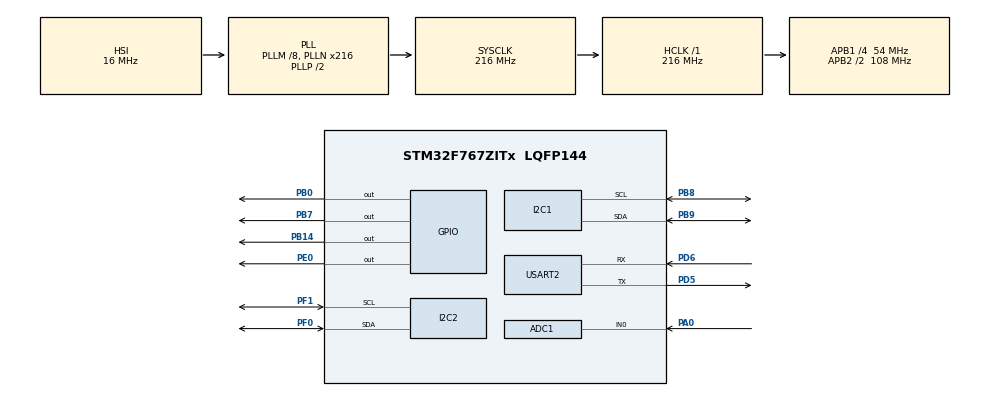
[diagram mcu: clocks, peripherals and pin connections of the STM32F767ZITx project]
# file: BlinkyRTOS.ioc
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ADC1.Channel-0\#ChannelRegularConversion=ADC_CHANNEL_0
ADC1.NbrOfConversionFlag=1
ADC1.Rank-0\#ChannelRegularConversion=1
ADC1.Resolution=ADC_RESOLUTION_8B
ADC1.SamplingTime-0\#ChannelRegularConversion=ADC_SAMPLETIME_3CYCLES
ADC1.master=1
CORTEX_M7.default_mode_Activation=1
I2C1.Timing=0x20404768
I2C2.Timing=0x20404768
Mcu.Family=STM32F7
Mcu.Name=STM32F767ZITx
Mcu.Package=LQFP144
NVIC.PriorityGroup=NVIC_PRIORITYGROUP_4
NVIC.TIM6_DAC_IRQn=true\:15\:0\:false\:false\:true\:false\:true\:true
NVIC.TimeBase=TIM6_DAC_IRQn
NVIC.TimeBaseIP=TIM6
PA0/WKUP.Signal=ADCx_IN0
PB0.GPIO_Speed=GPIO_SPEED_FREQ_HIGH
PB0.PinState=GPIO_PIN_SET
PB0.Signal=GPIO_Output
PB14.GPIO_Speed=GPIO_SPEED_FREQ_HIGH
PB14.PinState=GPIO_PIN_SET
PB14.Signal=GPIO_Output
PB7.GPIO_Speed=GPIO_SPEED_FREQ_HIGH
PB7.PinState=GPIO_PIN_SET
PB7.Signal=GPIO_Output
PB8.Mode=I2C
PB8.Signal=I2C1_SCL
PB9.Mode=I2C
PB9.Signal=I2C1_SDA
PD5.Mode=Asynchronous
PD5.Signal=USART2_TX
PD6.Mode=Asynchronous
PD6.Signal=USART2_RX
PE0.GPIO_Speed=GPIO_SPEED_FREQ_HIGH
PE0.PinState=GPIO_PIN_SET
PE0.Signal=GPIO_Output
PF0.Mode=I2C
PF0.Signal=I2C2_SDA
PF1.Mode=I2C
PF1.Signal=I2C2_SCL
ProjectManager.HeapSize=0x200
ProjectManager.StackSize=0x400
ProjectManager.TargetToolchain=STM32CubeIDE
RCC.AHBFreq_Value=216000000
RCC.APB1CLKDivider=RCC_HCLK_DIV4
RCC.APB1Freq_Value=54000000
RCC.APB1TimFreq_Value=108000000
RCC.APB2CLKDivider=RCC_HCLK_DIV2
RCC.APB2Freq_Value=108000000
RCC.APB2TimFreq_Value=216000000
RCC.CortexFreq_Value=216000000
RCC.HCLKFreq_Value=216000000
RCC.HSE_VALUE=25000000
RCC.HSI_VALUE=16000000
RCC.LSE_VALUE=32768
RCC.PLLM=8
RCC.PLLN=216
RCC.PLLQ=9
RCC.SYSCLKFreq_VALUE=216000000
RCC.SYSCLKSource=RCC_SYSCLKSOURCE_PLLCLK
RCC.USBFreq_Value=48000000
RCC.VCOOutputFreq_Value=432000000
SH.ADCx_IN0.0=ADC1_IN0,IN0
USART2.VirtualMode-Asynchronous=VM_ASYNC
VP_RNG_VS_RNG.Mode=RNG_Activate
VP_SYS_VS_tim6.Mode=TIM6
board=custom

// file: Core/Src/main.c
/* USER CODE BEGIN Header */
/**
  ******************************************************************************
  * @file           : main.c
  * @brief          : Main program body
  ******************************************************************************
  * @attention
  *
  * Copyright (c) 2025 STMicroelectronics.
  * All rights reserved.
  *
  * This software is licensed under terms that can be found in the LICENSE file
  * in the root directory of this software component.
  * If no LICENSE file comes with this software, it is provided AS-IS.
  *
  ******************************************************************************
  */
/* USER CODE END Header */
#include "main.h"

/* USER CODE BEGIN Includes */
#include <string.h>
#include <stdio.h>
#include <math.h>

#include "ssd1306.h"
#include "ssd1306_fonts.h"
#include "FreeRTOS.h"
#include "task.h"
#include "semphr.h" // Include if using semaphores in ISR
#include <SEGGER_SYSVIEW.h>
#include <lookBusy.h>
#include "stm32f7xx.h"

#include "font_extra.h"
/* USER CODE END Includes */

/* USER CODE BEGIN PD */
//#define LED1_PIN        0  // PB0
//#define LED2_PIN        7  // PB7
//#define LED3_PIN        14 // PB14
#define LED1_GPIO_PIN GPIO_PIN_0
#define LED2_GPIO_PIN GPIO_PIN_7
#define LED3_GPIO_PIN GPIO_PIN_14
#define PE0_GPIO_PIN  GPIO_PIN_0

//#define SHT31_ADDR 0x44 << 1 // SHT31 I2C address shifted left by 1 bit
//#define CMD_MEASURE_TEMP 0x2C06 // Command to measure temperature
//#define CMD_MEASURE_HUMIDITY 0x2C10 // Command to measure humidity

#define SHT31_ADDR 0x44 << 1 // SHT31 I2C address shifted left by 1 bit
// #define CMD_MEASURE_TEMP 0x2C06 // No longer needed
// #define CMD_MEASURE_HUMIDITY 0x2C10 // No longer needed
#define CMD_MEASURE_TH_HIGH_REP 0x2400 // Command for Temp & Humidity High Repeatability

// Define error codes for sensor reading
#define SHT31_READ_OK      0
#define SHT31_ERR_NOT_READY -998.0f
#define SHT31_ERR_I2C_FAIL  -999.0f
/* USER CODE END PD */

ADC_HandleTypeDef hadc1;

I2C_HandleTypeDef hi2c1;
I2C_HandleTypeDef hi2c2;

RNG_HandleTypeDef hrng;

UART_HandleTypeDef huart2;

void SystemClock_Config(void);
static void MPU_Config(void);
static void MX_GPIO_Init(void);
static void MX_RNG_Init(void);
static void MX_I2C1_Init(void);
static void MX_USART2_UART_Init(void);
static void MX_ADC1_Init(void);
static void MX_I2C2_Init(void);
/* USER CODE BEGIN PFP */
void SHT31_ReadTempHumidity(float* temp, float* humidity);
float roundToOneDecimal(float value);
/* USER CODE END PFP */

/* USER CODE BEGIN 0 */
void vLED1Task(void *pvParameters) {
    // Data for this task
	uint16_t lux=0;
	char msg[30];
	uint32_t timeout = 100; // Timeout for transmission

    for (;;) {
    	SEGGER_SYSVIEW_PrintfHost("vLED1Task started");
    	// Toggle LED1 (PB0)
//        GPIOB->ODR ^= (1 << LED1_PIN);
    	HAL_GPIO_TogglePin(GPIOB, LED1_GPIO_PIN);

        HAL_ADC_Start(&hadc1);
        HAL_ADC_PollForConversion(&hadc1, 20);
        lux = HAL_ADC_GetValue(&hadc1);
        snprintf(msg, sizeof(msg), "Light: %hu \r\n", lux);
        // Transmit the data via UART2
        // HAL_UART_Transmit is a BLOCKING function. It waits until transmission is complete or timeout.
        // For a slow task like this (1000ms delay), blocking is often acceptable.
        // For faster tasks or larger data, consider HAL_UART_Transmit_IT() or HAL_UART_Transmit_DMA().
        HAL_StatusTypeDef status = HAL_UART_Transmit(&huart2, // Pointer to UART handle
                                                  (uint8_t *)msg,      // Pointer to data buffer
                                                  strlen(msg), // Data size (exclude null terminator)
                                                  timeout);  // Timeout duration
        if (status != HAL_OK) {
            // Handle error
        }

        // Delay for 200 ms
        vTaskDelay(pdMS_TO_TICKS(200));
    }
}

void vLED2Task(void *pvParameters) {
	for (;;) {
		SEGGER_SYSVIEW_PrintfHost("vLED2Task started");
//		GPIOB->ODR ^= (1 << LED2_PIN); // Toggle LED2 (PB7)
		HAL_GPIO_TogglePin(GPIOB, LED2_GPIO_PIN);
        vTaskDelay(pdMS_TO_TICKS(300));
    }
}

void vLED3Task(void *pvParameters) {
	// Increased buffer size slightly just in case formatting is longer
	char msg[40];
	float temperature = 0.0f, humidity = 0.0f; // Initialize variables
	uint16_t lux=0;
	uint32_t timeout = 100; // Timeout for transmission

	for (;;) {
		SEGGER_SYSVIEW_PrintfHost("vLED3Task started");
//		GPIOB->ODR ^= (1 << LED3_PIN); // Toggle LED3 (PB14)
		HAL_GPIO_TogglePin(GPIOB, LED3_GPIO_PIN);

        // Read temperature and humidity data from SHT31
        // Assumes SHT31_ReadTempHumidity correctly populates both values on success
        SHT31_ReadTempHumidity(&temperature, &humidity);

        // Format the message based on the read result
        if (temperature == SHT31_ERR_I2C_FAIL) {
            snprintf(msg, sizeof(msg), "I2C Error\r\n");
        } else if (temperature == SHT31_ERR_NOT_READY) {
             snprintf(msg, sizeof(msg), "SHT31 NACK\r\n");
        }
//      else if (isnan(temperature) || isinf(temperature) || isnan(humidity) || isinf(humidity)) { // Optional advanced check
//          snprintf(msg, sizeof(msg), "Sensor Math Err\r\n");
//      }
        else {
            // *** MODIFIED LINE: Format both Temperature and Humidity ***
            // Using %.1f for one decimal place, added units and spacing.
            // Note: %% is used to print a literal '%' sign.
            snprintf(msg, sizeof(msg), "T:%.1f°C H:%.1f%%\r\n", temperature, humidity);
        }

        // Transmit the formatted message or error status
        HAL_StatusTypeDef status = HAL_UART_Transmit(&huart2, (uint8_t *)msg, strlen(msg), timeout);
        // Optional: Check UART transmission status
        if (status != HAL_OK)
        {
            // Handle UART transmission error - maybe try sending a simpler error message
             // HAL_UART_Transmit(&huart2, (uint8_t*)"UART TX ERR\r\n", 13, timeout);
        }
        ssd1306_Fill(Black);
        float rounded_val = roundToOneDecimal(temperature);
        snprintf(msg, sizeof(msg), "%.1f#$ \r\n", rounded_val);
        ssd1306_SetCursor(5,0);
        ssd1306_WriteString("Temperature: ", Font_6x8, White);
        ssd1306_SetCursor(35,15);
        ssd1306_WriteString(msg, FontExtra_8x8, White);

        rounded_val = roundToOneDecimal(humidity);
        snprintf(msg, sizeof(msg), "%.1f \r\n", rounded_val);
        ssd1306_SetCursor(5,30);
        ssd1306_WriteString("Humidity: ", Font_6x8, White);
//        ssd1306_UpdateScreen();
        ssd1306_SetCursor(35,45);
        ssd1306_WriteString(msg, FontExtra_8x8, White);

        HAL_ADC_Start(&hadc1);
        HAL_ADC_PollForConversion(&hadc1, 20);
        lux = HAL_ADC_GetValue(&hadc1);

        if (lux < 50){
            HAL_GPIO_WritePin(GPIOE, PE0_GPIO_PIN, GPIO_PIN_SET);

          ssd1306_SetContrast(255);
          ssd1306_UpdateScreen();
          GPIOE->BSRR = (1UL << 0);
        }else{// Turn LED on
          HAL_GPIO_WritePin(GPIOE, PE0_GPIO_PIN, GPIO_PIN_RESET);
          ssd1306_SetContrast(100);
          ssd1306_UpdateScreen();

        }
        vTaskDelay(pdMS_TO_TICKS(1000));
    }
}

void SHT31_ReadTempHumidity(float* temp, float* humidity)
{
    // Buffer to hold 6 bytes: Temp MSB, LSB, CRC, Humid MSB, LSB, CRC
    uint8_t data[6];
    uint16_t temp_raw, humidity_raw;

    // Command for single shot measurement, high repeatability (T & H)
    uint16_t cmd_measure_th = CMD_MEASURE_TH_HIGH_REP;
    uint8_t cmd_bytes[2];
    cmd_bytes[0] = (cmd_measure_th >> 8) & 0xFF;
    cmd_bytes[1] = cmd_measure_th & 0xFF;

    HAL_StatusTypeDef status; // Variable to check HAL return status

    // Initialize output pointers to error state
    *temp = SHT31_ERR_I2C_FAIL;
    *humidity = SHT31_ERR_I2C_FAIL;

    // 1. Check if device is ready (responds to its address)
    status = HAL_I2C_IsDeviceReady(&hi2c2, SHT31_ADDR, 2, 100);
    if (status != HAL_OK) {
        *temp = SHT31_ERR_NOT_READY; // Indicate device did not ACK
        *humidity = SHT31_ERR_NOT_READY;
        return; // Exit if device is not ready
    }

    // 2. Send the single measurement command (0x2400)
    status = HAL_I2C_Master_Transmit(&hi2c2, SHT31_ADDR, cmd_bytes, 2, 1000);
    if (status != HAL_OK) {
        return; // Exit on I2C transmission error
    }

    // 3. Wait for measurement (Use vTaskDelay in RTOS)
    // High repeatability measurement time is ~15ms according to datasheet
    vTaskDelay(pdMS_TO_TICKS(20)); // 20ms delay should be safe

    // 4. Read 6 bytes: Temp MSB, LSB, CRC, Humid MSB, LSB, CRC
    status = HAL_I2C_Master_Receive(&hi2c2, SHT31_ADDR, data, 6, 1000);
    if (status != HAL_OK) {
        return; // Exit on I2C receive error
    }
    // Note: CRC bytes (data[2] and data[5]) are read but not validated here

    // 5. Calculate Temperature from first 2 bytes
    temp_raw = (data[0] << 8) | data[1];
    *temp = ((float)temp_raw * 175.0f / 65535.0f) - 45.0f;

    // 6. Calculate Humidity from the next 2 bytes (bytes 3 and 4)
    humidity_raw = (data[3] << 8) | data[4];
    *humidity = ((float)humidity_raw * 100.0f / 65535.0f);

    // If execution reaches here, I2C reads were nominally OK, and
    // both temp and humidity calculations are complete.
}

float roundToOneDecimal(float value) {
    return roundf(value * 10.0f) / 10.0f;
}
/* USER CODE END 0 */

int main(void)
{

  /* MPU Configuration--------------------------------------------------------*/
  MPU_Config();

  /* MCU Configuration--------------------------------------------------------*/

  /* Reset of all peripherals, Initializes the Flash interface and the Systick. */
  HAL_Init();

  /* Configure the system clock */
  SystemClock_Config();

  /* USER CODE BEGIN SysInit */
  SystemCoreClockUpdate();
  /* USER CODE END SysInit */

  /* Initialize all configured peripherals */
  MX_GPIO_Init();
  MX_RNG_Init();
  MX_I2C1_Init();
  MX_USART2_UART_Init();
  MX_ADC1_Init();
  MX_I2C2_Init();
  /* USER CODE BEGIN 2 */
  SEGGER_SYSVIEW_Conf();
  NVIC_SetPriorityGrouping( 0 ); // ensure proper priority grouping for freeRTOS
  ssd1306_Init();
  ssd1306_Fill(Black);
  ssd1306_UpdateScreen();

  HAL_StatusTypeDef device_status;
  device_status = HAL_I2C_IsDeviceReady(&hi2c1, SSD1306_I2C_ADDR, 2, 100); // Check if device ACKs
  if (device_status != HAL_OK) {
      // Device not found or communication error
      // Maybe blink an LED differently or halt here for debugging
      Error_Handler();
  }

//  RCC->AHB1ENR |= RCC_AHB1ENR_GPIOBEN;
//
//  // Configure LED pins as output (Direct Register Access)
//  GPIOB->MODER &= ~((3 << (LED1_PIN * 2)) | (3 << (LED2_PIN * 2)) | (3 << (LED3_PIN * 2)));
//  GPIOB->MODER |=  ((1 << (LED1_PIN * 2)) | (1 << (LED2_PIN * 2)) | (1 << (LED3_PIN * 2)));
//  GPIOB->OTYPER &= ~((1 << LED1_PIN) | (1 << LED2_PIN) | (1 << LED3_PIN));
//  GPIOB->OSPEEDR &= ~((3 << (LED1_PIN * 2)) | (3 << (LED2_PIN * 2)) | (3 << (LED3_PIN * 2)));
//  GPIOB->PUPDR &= ~((3 << (LED1_PIN * 2)) | (3 << (LED2_PIN * 2)) | (3 << (LED3_PIN * 2)));
//
//  // 1. Enable GPIOE Clock in RCC_AHB1ENR register
//  // Make sure RCC definition is available (usually via stm32f7xx.h -> included in main.h)
//  RCC->AHB1ENR |= RCC_AHB1ENR_GPIOEEN; // Set the GPIOE clock enable bit
//
//  // Short delay after enabling clock (optional, sometimes good practice)
//  // volatile uint32_t dummy_delay = RCC->AHB1ENR;
//  // (void)dummy_delay; // Avoid unused variable warning
//
//  // Configure PE0 (Pin 0 on GPIOE)
//  // Make sure GPIOE definition is available (usually via stm32f7xx.h -> included in main.h)

//  // 2. Configure Mode: General purpose output (01)
//  GPIOE->MODER &= ~(GPIO_MODER_MODER0); // Clear bits 1:0 for Pin 0 (mask is 0b11 << 0)
//  GPIOE->MODER |=  (GPIO_MODER_MODER0_0); // Set bit 0 to 1 (value is 0b01 << 0)
//
//  // 3. Configure Output Type: Push-pull (0)
//  GPIOE->OTYPER &= ~(GPIO_OTYPER_OT0); // Clear bit 0 for Pin 0 (mask is 0b1 << 0)
//
//  // 4. Configure Output Speed: Low speed (00)
//  GPIOE->OSPEEDR &= ~(GPIO_OSPEEDER_OSPEEDR0); // Clear bits 1:0 for Pin 0 (mask is 0b11 << 0)
//                                              // 00 is the default state (Low speed) after clearing
//
//  // 5. Configure Pull-up/Pull-down: No pull-up, no pull-down (00)
//  GPIOE->PUPDR &= ~(GPIO_PUPDR_PUPDR0); // Clear bits 1:0 for Pin 0 (mask is 0b11 << 0)
//                                        // 00 is the default state (No pull) after clearing
  // Spin until the user starts the SystemView app, in Record mode
  while(SEGGER_SYSVIEW_IsStarted()==0)
  {
      lookBusy(100);
  }
  // Create tasks
  xTaskCreate(vLED1Task, "LED1", configMINIMAL_STACK_SIZE, NULL, tskIDLE_PRIORITY + 1, NULL);
  xTaskCreate(vLED2Task, "LED2", configMINIMAL_STACK_SIZE, NULL, tskIDLE_PRIORITY + 1, NULL);
  xTaskCreate(vLED3Task, "LED3", 256, NULL, tskIDLE_PRIORITY + 1, NULL);

  // Example: Create semaphore if used by TIM6 ISR
  // xTim6Semaphore = xSemaphoreCreateBinary();

  // Start scheduler - Execution transfers to FreeRTOS tasks
  vTaskStartScheduler();
  /* USER CODE END 2 */

  /* Infinite loop */
  while (1)
  {

    /* USER CODE BEGIN 3 */
	  ssd1306_SetCursor(5,1);
	  ssd1306_WriteString("Temperature: ", Font_6x8, White);
	  ssd1306_UpdateScreen();
  }
  /* USER CODE END 3 */
}

void SystemClock_Config(void)
{
  RCC_OscInitTypeDef RCC_OscInitStruct = {0};
  RCC_ClkInitTypeDef RCC_ClkInitStruct = {0};

  /** Configure the main internal regulator output voltage
  */
  __HAL_RCC_PWR_CLK_ENABLE();
  __HAL_PWR_VOLTAGESCALING_CONFIG(PWR_REGULATOR_VOLTAGE_SCALE1);

  /** Initializes the RCC Oscillators according to the specified parameters
  * in the RCC_OscInitTypeDef structure.
  */
  RCC_OscInitStruct.OscillatorType = RCC_OSCILLATORTYPE_HSI;
  RCC_OscInitStruct.HSIState = RCC_HSI_ON;
  RCC_OscInitStruct.HSICalibrationValue = RCC_HSICALIBRATION_DEFAULT;
  RCC_OscInitStruct.PLL.PLLState = RCC_PLL_ON;
  RCC_OscInitStruct.PLL.PLLSource = RCC_PLLSOURCE_HSI;
  RCC_OscInitStruct.PLL.PLLM = 8;
  RCC_OscInitStruct.PLL.PLLN = 216;
  RCC_OscInitStruct.PLL.PLLP = RCC_PLLP_DIV2;
  RCC_OscInitStruct.PLL.PLLQ = 9;
  RCC_OscInitStruct.PLL.PLLR = 2;
  if (HAL_RCC_OscConfig(&RCC_OscInitStruct) != HAL_OK)
  {
    Error_Handler();
  }

  /** Activate the Over-Drive mode
  */
  if (HAL_PWREx_EnableOverDrive() != HAL_OK)
  {
    Error_Handler();
  }

  /** Initializes the CPU, AHB and APB buses clocks
  */
  RCC_ClkInitStruct.ClockType = RCC_CLOCKTYPE_HCLK|RCC_CLOCKTYPE_SYSCLK
                              |RCC_CLOCKTYPE_PCLK1|RCC_CLOCKTYPE_PCLK2;
  RCC_ClkInitStruct.SYSCLKSource = RCC_SYSCLKSOURCE_PLLCLK;
  RCC_ClkInitStruct.AHBCLKDivider = RCC_SYSCLK_DIV1;
  RCC_ClkInitStruct.APB1CLKDivider = RCC_HCLK_DIV4;
  RCC_ClkInitStruct.APB2CLKDivider = RCC_HCLK_DIV2;

  if (HAL_RCC_ClockConfig(&RCC_ClkInitStruct, FLASH_LATENCY_7) != HAL_OK)
  {
    Error_Handler();
  }
}

static void MX_ADC1_Init(void)
{

  ADC_ChannelConfTypeDef sConfig = {0};

  /** Configure the global features of the ADC (Clock, Resolution, Data Alignment and number of conversion)
  */
  hadc1.Instance = ADC1;
  hadc1.Init.ClockPrescaler = ADC_CLOCK_SYNC_PCLK_DIV4;
  hadc1.Init.Resolution = ADC_RESOLUTION_8B;
  hadc1.Init.ScanConvMode = ADC_SCAN_DISABLE;
  hadc1.Init.ContinuousConvMode = DISABLE;
  hadc1.Init.DiscontinuousConvMode = DISABLE;
  hadc1.Init.ExternalTrigConvEdge = ADC_EXTERNALTRIGCONVEDGE_NONE;
  hadc1.Init.ExternalTrigConv = ADC_SOFTWARE_START;
  hadc1.Init.DataAlign = ADC_DATAALIGN_RIGHT;
  hadc1.Init.NbrOfConversion = 1;
  hadc1.Init.DMAContinuousRequests = DISABLE;
  hadc1.Init.EOCSelection = ADC_EOC_SINGLE_CONV;
  if (HAL_ADC_Init(&hadc1) != HAL_OK)
  {
    Error_Handler();
  }

  /** Configure for the selected ADC regular channel its corresponding rank in the sequencer and its sample time.
  */
  sConfig.Channel = ADC_CHANNEL_0;
  sConfig.Rank = ADC_REGULAR_RANK_1;
  sConfig.SamplingTime = ADC_SAMPLETIME_3CYCLES;
  if (HAL_ADC_ConfigChannel(&hadc1, &sConfig) != HAL_OK)
  {
    Error_Handler();
  }

}

static void MX_I2C1_Init(void)
{

  hi2c1.Instance = I2C1;
  hi2c1.Init.Timing = 0x20404768;
  hi2c1.Init.OwnAddress1 = 0;
  hi2c1.Init.AddressingMode = I2C_ADDRESSINGMODE_7BIT;
  hi2c1.Init.DualAddressMode = I2C_DUALADDRESS_DISABLE;
  hi2c1.Init.OwnAddress2 = 0;
  hi2c1.Init.OwnAddress2Masks = I2C_OA2_NOMASK;
  hi2c1.Init.GeneralCallMode = I2C_GENERALCALL_DISABLE;
  hi2c1.Init.NoStretchMode = I2C_NOSTRETCH_DISABLE;
  if (HAL_I2C_Init(&hi2c1) != HAL_OK)
  {
    Error_Handler();
  }

  /** Configure Analogue filter
  */
  if (HAL_I2CEx_ConfigAnalogFilter(&hi2c1, I2C_ANALOGFILTER_ENABLE) != HAL_OK)
  {
    Error_Handler();
  }

  /** Configure Digital filter
  */
  if (HAL_I2CEx_ConfigDigitalFilter(&hi2c1, 0) != HAL_OK)
  {
    Error_Handler();
  }

}

static void MX_I2C2_Init(void)
{

  hi2c2.Instance = I2C2;
  hi2c2.Init.Timing = 0x20404768;
  hi2c2.Init.OwnAddress1 = 0;
  hi2c2.Init.AddressingMode = I2C_ADDRESSINGMODE_7BIT;
  hi2c2.Init.DualAddressMode = I2C_DUALADDRESS_DISABLE;
  hi2c2.Init.OwnAddress2 = 0;
  hi2c2.Init.OwnAddress2Masks = I2C_OA2_NOMASK;
  hi2c2.Init.GeneralCallMode = I2C_GENERALCALL_DISABLE;
  hi2c2.Init.NoStretchMode = I2C_NOSTRETCH_DISABLE;
  if (HAL_I2C_Init(&hi2c2) != HAL_OK)
  {
    Error_Handler();
  }

  /** Configure Analogue filter
  */
  if (HAL_I2CEx_ConfigAnalogFilter(&hi2c2, I2C_ANALOGFILTER_ENABLE) != HAL_OK)
  {
    Error_Handler();
  }

  /** Configure Digital filter
  */
  if (HAL_I2CEx_ConfigDigitalFilter(&hi2c2, 0) != HAL_OK)
  {
    Error_Handler();
  }

}

static void MX_RNG_Init(void)
{

  hrng.Instance = RNG;
  if (HAL_RNG_Init(&hrng) != HAL_OK)
  {
    Error_Handler();
  }

}

static void MX_USART2_UART_Init(void)
{

  huart2.Instance = USART2;
  huart2.Init.BaudRate = 115200;
  huart2.Init.WordLength = UART_WORDLENGTH_8B;
  huart2.Init.StopBits = UART_STOPBITS_1;
  huart2.Init.Parity = UART_PARITY_NONE;
  huart2.Init.Mode = UART_MODE_TX_RX;
  huart2.Init.HwFlowCtl = UART_HWCONTROL_NONE;
  huart2.Init.OverSampling = UART_OVERSAMPLING_16;
  huart2.Init.OneBitSampling = UART_ONE_BIT_SAMPLE_DISABLE;
  huart2.AdvancedInit.AdvFeatureInit = UART_ADVFEATURE_NO_INIT;
  if (HAL_UART_Init(&huart2) != HAL_OK)
  {
    Error_Handler();
  }

}

static void MX_GPIO_Init(void)
{
  GPIO_InitTypeDef GPIO_InitStruct = {0};

  /* GPIO Ports Clock Enable */
  __HAL_RCC_GPIOF_CLK_ENABLE();
  __HAL_RCC_GPIOA_CLK_ENABLE();
  __HAL_RCC_GPIOB_CLK_ENABLE();
  __HAL_RCC_GPIOD_CLK_ENABLE();
  __HAL_RCC_GPIOE_CLK_ENABLE();

  /*Configure GPIO pin Output Level */
  HAL_GPIO_WritePin(GPIOB, GPIO_PIN_0|GPIO_PIN_14|GPIO_PIN_7, GPIO_PIN_SET);

  /*Configure GPIO pin Output Level */
  HAL_GPIO_WritePin(GPIOE, GPIO_PIN_0, GPIO_PIN_SET);

  /*Configure GPIO pins : PB0 PB14 PB7 */
  GPIO_InitStruct.Pin = GPIO_PIN_0|GPIO_PIN_14|GPIO_PIN_7;
  GPIO_InitStruct.Mode = GPIO_MODE_OUTPUT_PP;
  GPIO_InitStruct.Pull = GPIO_NOPULL;
  GPIO_InitStruct.Speed = GPIO_SPEED_FREQ_HIGH;
  HAL_GPIO_Init(GPIOB, &GPIO_InitStruct);

  /*Configure GPIO pin : PE0 */
  GPIO_InitStruct.Pin = GPIO_PIN_0;
  GPIO_InitStruct.Mode = GPIO_MODE_OUTPUT_PP;
  GPIO_InitStruct.Pull = GPIO_NOPULL;
  GPIO_InitStruct.Speed = GPIO_SPEED_FREQ_HIGH;
  HAL_GPIO_Init(GPIOE, &GPIO_InitStruct);

}

 /* MPU Configuration */

void MPU_Config(void)
{
  MPU_Region_InitTypeDef MPU_InitStruct = {0};

  /* Disables the MPU */
  HAL_MPU_Disable();

  /** Initializes and configures the Region and the memory to be protected
  */
  MPU_InitStruct.Enable = MPU_REGION_ENABLE;
  MPU_InitStruct.Number = MPU_REGION_NUMBER0;
  MPU_InitStruct.BaseAddress = 0x0;
  MPU_InitStruct.Size = MPU_REGION_SIZE_4GB;
  MPU_InitStruct.SubRegionDisable = 0x87;
  MPU_InitStruct.TypeExtField = MPU_TEX_LEVEL0;
  MPU_InitStruct.AccessPermission = MPU_REGION_NO_ACCESS;
  MPU_InitStruct.DisableExec = MPU_INSTRUCTION_ACCESS_DISABLE;
  MPU_InitStruct.IsShareable = MPU_ACCESS_SHAREABLE;
  MPU_InitStruct.IsCacheable = MPU_ACCESS_NOT_CACHEABLE;
  MPU_InitStruct.IsBufferable = MPU_ACCESS_NOT_BUFFERABLE;

  HAL_MPU_ConfigRegion(&MPU_InitStruct);
  /* Enables the MPU */
  HAL_MPU_Enable(MPU_PRIVILEGED_DEFAULT);

}

void HAL_TIM_PeriodElapsedCallback(TIM_HandleTypeDef *htim)
{
  if (htim->Instance == TIM6) {
    HAL_IncTick();
  }
}

void Error_Handler(void)
{
  __disable_irq();
  while (1)
  {
  }
}
